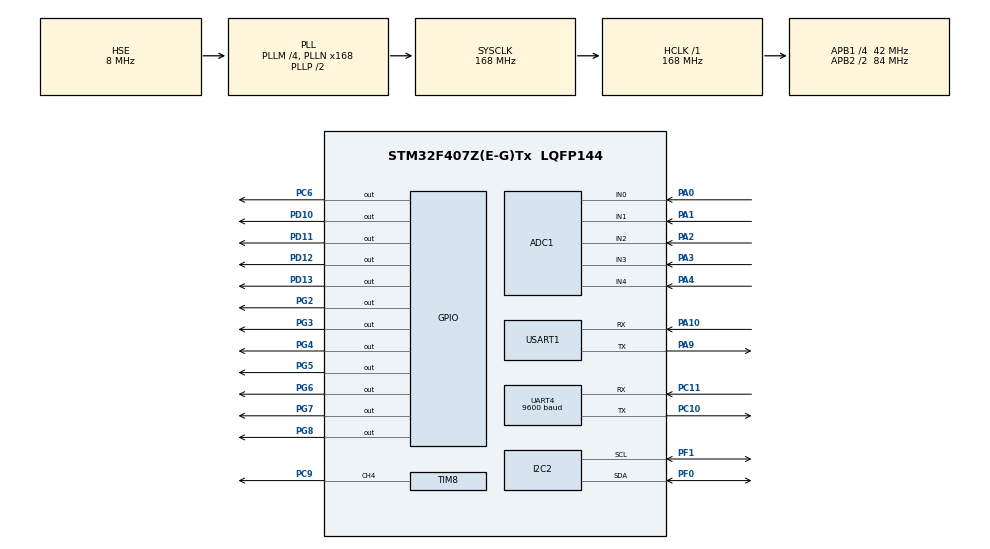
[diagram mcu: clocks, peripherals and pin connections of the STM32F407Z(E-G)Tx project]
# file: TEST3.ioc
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ADC1.Channel-0\#ChannelRegularConversion=ADC_CHANNEL_0
ADC1.Channel-1\#ChannelRegularConversion=ADC_CHANNEL_1
ADC1.Channel-2\#ChannelRegularConversion=ADC_CHANNEL_2
ADC1.Channel-3\#ChannelRegularConversion=ADC_CHANNEL_3
ADC1.Channel-4\#ChannelRegularConversion=ADC_CHANNEL_4
ADC1.ContinuousConvMode=ENABLE
ADC1.DMAContinuousRequests=ENABLE
ADC1.InjNumberOfConversion=0
ADC1.NbrOfConversion=5
ADC1.NbrOfConversionFlag=1
ADC1.Rank-0\#ChannelRegularConversion=1
ADC1.Rank-1\#ChannelRegularConversion=2
ADC1.Rank-2\#ChannelRegularConversion=3
ADC1.Rank-3\#ChannelRegularConversion=4
ADC1.Rank-4\#ChannelRegularConversion=5
ADC1.SamplingTime-0\#ChannelRegularConversion=ADC_SAMPLETIME_480CYCLES
ADC1.SamplingTime-1\#ChannelRegularConversion=ADC_SAMPLETIME_480CYCLES
ADC1.SamplingTime-2\#ChannelRegularConversion=ADC_SAMPLETIME_480CYCLES
ADC1.SamplingTime-3\#ChannelRegularConversion=ADC_SAMPLETIME_480CYCLES
ADC1.SamplingTime-4\#ChannelRegularConversion=ADC_SAMPLETIME_480CYCLES
ADC1.ScanConvMode=ENABLE
ADC1.master=1
Dma.ADC1.0.Direction=DMA_PERIPH_TO_MEMORY
Dma.ADC1.0.FIFOMode=DMA_FIFOMODE_DISABLE
Dma.ADC1.0.Instance=DMA2_Stream0
Dma.ADC1.0.MemDataAlignment=DMA_MDATAALIGN_HALFWORD
Dma.ADC1.0.MemInc=DMA_MINC_ENABLE
Dma.ADC1.0.Mode=DMA_CIRCULAR
Dma.ADC1.0.PeriphDataAlignment=DMA_PDATAALIGN_HALFWORD
Dma.ADC1.0.PeriphInc=DMA_PINC_DISABLE
Dma.ADC1.0.Priority=DMA_PRIORITY_LOW
Dma.Request0=ADC1
Dma.Request1=TIM8_CH4/TRIG/COM
Dma.TIM8_CH4/TRIG/COM.1.Direction=DMA_MEMORY_TO_PERIPH
Dma.TIM8_CH4/TRIG/COM.1.FIFOMode=DMA_FIFOMODE_DISABLE
Dma.TIM8_CH4/TRIG/COM.1.Instance=DMA2_Stream7
Dma.TIM8_CH4/TRIG/COM.1.MemDataAlignment=DMA_MDATAALIGN_HALFWORD
Dma.TIM8_CH4/TRIG/COM.1.MemInc=DMA_MINC_ENABLE
Dma.TIM8_CH4/TRIG/COM.1.Mode=DMA_NORMAL
Dma.TIM8_CH4/TRIG/COM.1.PeriphDataAlignment=DMA_PDATAALIGN_HALFWORD
Dma.TIM8_CH4/TRIG/COM.1.PeriphInc=DMA_PINC_DISABLE
Dma.TIM8_CH4/TRIG/COM.1.Priority=DMA_PRIORITY_MEDIUM
I2C2.I2C_Mode=I2C_Standard
Mcu.Family=STM32F4
Mcu.Name=STM32F407Z(E-G)Tx
Mcu.Package=LQFP144
NVIC.DMA2_Stream7_IRQn=true\:0\:0\:false\:false\:true\:true\:true
NVIC.PriorityGroup=NVIC_PRIORITYGROUP_4
NVIC.TIM2_IRQn=true\:0\:0\:false\:false\:true\:true\:true
NVIC.TIM3_IRQn=true\:0\:0\:false\:false\:true\:true\:true
NVIC.TIM8_TRG_COM_TIM14_IRQn=true\:0\:0\:false\:false\:true\:true\:true
NVIC.UART4_IRQn=true\:0\:0\:false\:false\:true\:true\:true
NVIC.USART1_IRQn=true\:0\:0\:false\:false\:true\:true\:true
PA0-WKUP.Signal=ADCx_IN0
PA1.Signal=ADCx_IN1
PA10.Mode=Asynchronous
PA10.Signal=USART1_RX
PA13.Mode=Serial_Wire
PA13.Signal=SYS_JTMS-SWDIO
PA14.Mode=Serial_Wire
PA14.Signal=SYS_JTCK-SWCLK
PA2.Signal=ADCx_IN2
PA3.Signal=ADCx_IN3
PA4.Signal=ADCx_IN4
PA9.Mode=Asynchronous
PA9.Signal=USART1_TX
PC10.Mode=Asynchronous
PC10.Signal=UART4_TX
PC11.Mode=Asynchronous
PC11.Signal=UART4_RX
PC14-OSC32_IN.Mode=LSE-External-Oscillator
PC14-OSC32_IN.Signal=RCC_OSC32_IN
PC15-OSC32_OUT.Mode=LSE-External-Oscillator
PC15-OSC32_OUT.Signal=RCC_OSC32_OUT
PC6.Signal=GPIO_Output
PC9.Signal=S_TIM8_CH4
PD10.Signal=GPIO_Output
PD11.Signal=GPIO_Output
PD12.Signal=GPIO_Output
PD13.Signal=GPIO_Output
PF0.Mode=I2C
PF0.Signal=I2C2_SDA
PF1.Mode=I2C
PF1.Signal=I2C2_SCL
PG2.Signal=GPIO_Output
PG3.Signal=GPIO_Output
PG4.Signal=GPIO_Output
PG5.Signal=GPIO_Output
PG6.Signal=GPIO_Output
PG7.Signal=GPIO_Output
PG8.Signal=GPIO_Output
PH0-OSC_IN.Mode=HSE-External-Oscillator
PH0-OSC_IN.Signal=RCC_OSC_IN
PH1-OSC_OUT.Mode=HSE-External-Oscillator
PH1-OSC_OUT.Signal=RCC_OSC_OUT
ProjectManager.HeapSize=0x200
ProjectManager.StackSize=0x400
ProjectManager.TargetToolchain=MDK-ARM V5
RCC.48MHZClocksFreq_Value=84000000
RCC.AHBFreq_Value=168000000
RCC.APB1CLKDivider=RCC_HCLK_DIV4
RCC.APB1Freq_Value=42000000
RCC.APB1TimFreq_Value=84000000
RCC.APB2CLKDivider=RCC_HCLK_DIV2
RCC.APB2Freq_Value=84000000
RCC.APB2TimFreq_Value=168000000
RCC.CortexFreq_Value=168000000
RCC.HCLKFreq_Value=168000000
RCC.HSE_VALUE=8000000
RCC.HSI_VALUE=16000000
RCC.PLLM=4
RCC.PLLN=168
RCC.PLLSourceVirtual=RCC_PLLSOURCE_HSE
RCC.SYSCLKFreq_VALUE=168000000
RCC.SYSCLKSource=RCC_SYSCLKSOURCE_PLLCLK
RCC.VCOOutputFreq_Value=336000000
SH.ADCx_IN0.0=ADC1_IN0,IN0
SH.ADCx_IN1.0=ADC1_IN1,IN1
SH.ADCx_IN2.0=ADC1_IN2,IN2
SH.ADCx_IN3.0=ADC1_IN3,IN3
SH.ADCx_IN4.0=ADC1_IN4,IN4
SH.S_TIM8_CH4.0=TIM8_CH4,PWM Generation4 CH4
TIM2.AutoReloadPreload=TIM_AUTORELOAD_PRELOAD_DISABLE
TIM2.Period=50000-1
TIM2.Prescaler=1680-1
TIM3.Period=10000-1
TIM3.Prescaler=1680-1
TIM8.Channel-PWM\ Generation4\ CH4=TIM_CHANNEL_4
TIM8.Period=210-1
UART4.BaudRate=9600
UART4.VirtualMode=Asynchronous
USART1.VirtualMode=VM_ASYNC
VP_TIM2_VS_ClockSourceINT.Mode=Internal
VP_TIM3_VS_ClockSourceINT.Mode=Internal
VP_TIM8_VS_ClockSourceINT.Mode=Internal
board=custom

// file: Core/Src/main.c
/* USER CODE BEGIN Header */
/**
  ******************************************************************************
  * @file           : main.c
  * @brief          : Main program body
  ******************************************************************************
  * @attention
  *
  * Copyright (c) 2024 STMicroelectronics.
  * All rights reserved.
  *
  * This software is licensed under terms that can be found in the LICENSE file
  * in the root directory of this software component.
  * If no LICENSE file comes with this software, it is provided AS-IS.
  *
  ******************************************************************************
  */
/* USER CODE END Header */
#include "main.h"
#include "adc.h"
#include "dma.h"
#include "i2c.h"
#include "tim.h"
#include "usart.h"
#include "gpio.h"

void SystemClock_Config(void);
/* USER CODE BEGIN PFP */

//引脚
/*
     IN0:PA0 土壤湿度    IN1:PA1 光强    IN2:PA2 水位    IN3:PA3 烟雾  IN4:PA4 PH
	 GPIO:PG2 风扇       PG3 水泵        PG4 农药        PG5 蜂鸣器
     UART4_TX: PC10      音乐播放器      UART4_RX: PC11  二氧化碳
	 USART1_TX:PA9       USART1_RX:PA10  ESP32
	 GPIO:PG6  电机1A    PG7  电机1B     PG8  电机1C     PC6  电机1D
	 GPIO:PD10 电机2A    PD11 电机2B     PD12 电机2C     PD13 电机2D
*/

//7E 03 1C 1F EF 播放/暂停
//7E 03 13 10 EF 下一首
//7E 03 14 17 EF 上一首

//串口ADC缓冲数组
uint16_t ADC_Value[5];     //ADC1数据
uint8_t  TX_DAT[9];        //不超过255
uint8_t  RX_DAT[10];       //不超过255
uint8_t  RX_DAT4[16];      //不超过255
uint8_t  TX_DAT4[5];       //不超过255

//自动控制参数
uint8_t  soil_flag;        //自动控制土壤湿度标志位
uint8_t  light_flag;       //自动控制光照强度标志位
uint8_t  carbon_flag;      //自动控制二氧化碳标志位
uint8_t  smoke_flag;       //烟雾报警开启标志位
uint8_t  curtain_flag;     //窗帘标志位
uint8_t  shuifei_flag;     //水肥一体化标志位
uint16_t soil_top;
uint16_t soil_floor;
uint16_t light_top;
uint16_t light_floor;
uint16_t carbon_top;
uint16_t carbon_floor;

//传感器参数
uint8_t smoke;             //烟雾标志位
int8_t  water_ph;          //水质ph
int32_t water_level;       //水位高度
uint8_t soil_humidity;     //土壤湿度
int32_t carbon_dioxide;    //二氧化碳浓度
int32_t light_intensity;   //光照强度

//IIC参数
//uint8_t IIC_OBUF[1]=0x80;
//uint8_t IIC_IBUF[4];
uint16_t IIC_BUF;

#define TSL2561_ADDR 0x39  // TSL2561器件地址

#define TSL2561_CMD 0x80  // 命令字节
#define TSL2561_REG_TIMING 0x01  // TIMING寄存器地址
#define TSL2561_REG_DATA_0 0x0C  // 数据寄存器0地址
#define TSL2561_REG_DATA_1 0x0E  // 数据寄存器1地址

#define TSL2561_GAIN_1X 0x00   // 增益1x
#define TSL2561_GAIN_16X 0x10  // 增益16x

#define TSL2561_INTEGRATION_TIME_13MS 0x00  // 13.7ms积分时间
#define TSL2561_INTEGRATION_TIME_101MS 0x01  // 101ms积分时间
#define TSL2561_INTEGRATION_TIME_402MS 0x02  // 402ms积分时间

void TSL2561_Init(void)
{
    uint8_t buf[4];

	//
    buf[0] = TSL2561_CMD | 0x00;
    buf[1] = 0x03;

    HAL_I2C_Master_Transmit(&hi2c2, TSL2561_ADDR, buf, 2, 1000);
    // 设置增益为1x，积分时间为13.7ms
    buf[0] = TSL2561_CMD | TSL2561_REG_TIMING;
    buf[1] = TSL2561_GAIN_1X | TSL2561_INTEGRATION_TIME_101MS;

    HAL_I2C_Master_Transmit(&hi2c2, TSL2561_ADDR, buf, 2, 1000);
}

uint16_t TSL2561_ReadData(void)
{
    uint8_t buf[2];
    uint16_t data;

    // 读取数据寄存器0和数据寄存器1的值
    buf[0] = TSL2561_CMD | TSL2561_REG_DATA_0;
    HAL_I2C_Master_Transmit(&hi2c2, TSL2561_ADDR, buf, 1, 1000);
    HAL_I2C_Master_Receive(&hi2c2, TSL2561_ADDR, buf, 2, 1000);

    // 将读取到的数据转换为16位整数
    data = buf[1] << 8 | buf[0];

    return data;
}

//1相励磁函数， A-B-C-D 正转
void Motor_One(uint16_t speed)
{
	HAL_GPIO_WritePin(GPIOG,GPIO_PIN_6,GPIO_PIN_SET);
	HAL_GPIO_WritePin(GPIOG,GPIO_PIN_7|GPIO_PIN_8,GPIO_PIN_RESET);HAL_GPIO_WritePin(GPIOC,GPIO_PIN_6,GPIO_PIN_RESET);
	HAL_Delay(speed);

	HAL_GPIO_WritePin(GPIOG,GPIO_PIN_7,GPIO_PIN_SET);
	HAL_GPIO_WritePin(GPIOG,GPIO_PIN_6|GPIO_PIN_8,GPIO_PIN_RESET);HAL_GPIO_WritePin(GPIOC,GPIO_PIN_6,GPIO_PIN_RESET);
	HAL_Delay(speed);

	HAL_GPIO_WritePin(GPIOG,GPIO_PIN_8,GPIO_PIN_SET);
	HAL_GPIO_WritePin(GPIOG,GPIO_PIN_6|GPIO_PIN_7,GPIO_PIN_RESET);HAL_GPIO_WritePin(GPIOC,GPIO_PIN_6,GPIO_PIN_RESET);
	HAL_Delay(speed);

	HAL_GPIO_WritePin(GPIOC,GPIO_PIN_6,GPIO_PIN_SET);
	HAL_GPIO_WritePin(GPIOG,GPIO_PIN_7|GPIO_PIN_8|GPIO_PIN_9,GPIO_PIN_RESET);
	HAL_Delay(speed);
}

//1相励磁函数， D-C-B-A 反转
void Motor_uOne(uint16_t speed)
{
	HAL_GPIO_WritePin(GPIOC,GPIO_PIN_6,GPIO_PIN_SET);
	HAL_GPIO_WritePin(GPIOG,GPIO_PIN_7|GPIO_PIN_8|GPIO_PIN_9,GPIO_PIN_RESET);
	HAL_Delay(speed);

	HAL_GPIO_WritePin(GPIOG,GPIO_PIN_8,GPIO_PIN_SET);
	HAL_GPIO_WritePin(GPIOG,GPIO_PIN_6|GPIO_PIN_7,GPIO_PIN_RESET);HAL_GPIO_WritePin(GPIOC,GPIO_PIN_6,GPIO_PIN_RESET);
	HAL_Delay(speed);

	HAL_GPIO_WritePin(GPIOG,GPIO_PIN_7,GPIO_PIN_SET);
	HAL_GPIO_WritePin(GPIOG,GPIO_PIN_6|GPIO_PIN_8,GPIO_PIN_RESET);HAL_GPIO_WritePin(GPIOC,GPIO_PIN_6,GPIO_PIN_RESET);
	HAL_Delay(speed);

	HAL_GPIO_WritePin(GPIOG,GPIO_PIN_6,GPIO_PIN_SET);
	HAL_GPIO_WritePin(GPIOG,GPIO_PIN_7|GPIO_PIN_8,GPIO_PIN_RESET);HAL_GPIO_WritePin(GPIOC,GPIO_PIN_6,GPIO_PIN_RESET);
	HAL_Delay(speed);

}

//1相励磁函数2，A-B-C-D 正转
void Motor2_One(uint16_t speed)
{
	HAL_GPIO_WritePin(GPIOD,GPIO_PIN_10,GPIO_PIN_SET);
	HAL_GPIO_WritePin(GPIOD,GPIO_PIN_11|GPIO_PIN_12|GPIO_PIN_13,GPIO_PIN_RESET);
	HAL_Delay(speed);

	HAL_GPIO_WritePin(GPIOD,GPIO_PIN_11,GPIO_PIN_SET);
	HAL_GPIO_WritePin(GPIOD,GPIO_PIN_10|GPIO_PIN_12|GPIO_PIN_13,GPIO_PIN_RESET);
	HAL_Delay(speed);

	HAL_GPIO_WritePin(GPIOD,GPIO_PIN_12,GPIO_PIN_SET);
	HAL_GPIO_WritePin(GPIOD,GPIO_PIN_10|GPIO_PIN_11|GPIO_PIN_13,GPIO_PIN_RESET);
	HAL_Delay(speed);

	HAL_GPIO_WritePin(GPIOD,GPIO_PIN_13,GPIO_PIN_SET);
	HAL_GPIO_WritePin(GPIOD,GPIO_PIN_10|GPIO_PIN_11|GPIO_PIN_12,GPIO_PIN_RESET);
	HAL_Delay(speed);
}
//1相励磁函数2，D-C-B-A 反转
void Motor2_uOne(uint16_t speed)
{
	HAL_GPIO_WritePin(GPIOD,GPIO_PIN_13,GPIO_PIN_SET);
	HAL_GPIO_WritePin(GPIOD,GPIO_PIN_10|GPIO_PIN_11|GPIO_PIN_12,GPIO_PIN_RESET);
	HAL_Delay(speed);

	HAL_GPIO_WritePin(GPIOD,GPIO_PIN_12,GPIO_PIN_SET);
	HAL_GPIO_WritePin(GPIOD,GPIO_PIN_10|GPIO_PIN_11|GPIO_PIN_13,GPIO_PIN_RESET);
	HAL_Delay(speed);

	HAL_GPIO_WritePin(GPIOD,GPIO_PIN_11,GPIO_PIN_SET);
	HAL_GPIO_WritePin(GPIOD,GPIO_PIN_10|GPIO_PIN_12|GPIO_PIN_13,GPIO_PIN_RESET);
	HAL_Delay(speed);

	HAL_GPIO_WritePin(GPIOD,GPIO_PIN_10,GPIO_PIN_SET);
	HAL_GPIO_WritePin(GPIOD,GPIO_PIN_11|GPIO_PIN_12|GPIO_PIN_13,GPIO_PIN_RESET);
	HAL_Delay(speed);
}

//1相励磁合，A1D2-B1C2-C1B2-D1A2 开
void Motor_on(uint16_t speed)
{
	HAL_GPIO_WritePin(GPIOG,GPIO_PIN_6,GPIO_PIN_SET);
	HAL_GPIO_WritePin(GPIOG,GPIO_PIN_7|GPIO_PIN_8,GPIO_PIN_RESET);HAL_GPIO_WritePin(GPIOC,GPIO_PIN_6,GPIO_PIN_RESET);
	HAL_GPIO_WritePin(GPIOD,GPIO_PIN_13,GPIO_PIN_SET);
	HAL_GPIO_WritePin(GPIOD,GPIO_PIN_10|GPIO_PIN_11|GPIO_PIN_12,GPIO_PIN_RESET);
	HAL_Delay(speed);

	HAL_GPIO_WritePin(GPIOG,GPIO_PIN_7,GPIO_PIN_SET);
	HAL_GPIO_WritePin(GPIOG,GPIO_PIN_6|GPIO_PIN_8,GPIO_PIN_RESET);HAL_GPIO_WritePin(GPIOC,GPIO_PIN_6,GPIO_PIN_RESET);
	HAL_GPIO_WritePin(GPIOD,GPIO_PIN_12,GPIO_PIN_SET);
	HAL_GPIO_WritePin(GPIOD,GPIO_PIN_10|GPIO_PIN_11|GPIO_PIN_13,GPIO_PIN_RESET);
	HAL_Delay(speed);

	HAL_GPIO_WritePin(GPIOG,GPIO_PIN_8,GPIO_PIN_SET);
	HAL_GPIO_WritePin(GPIOG,GPIO_PIN_6|GPIO_PIN_7,GPIO_PIN_RESET);HAL_GPIO_WritePin(GPIOC,GPIO_PIN_6,GPIO_PIN_RESET);
    HAL_GPIO_WritePin(GPIOD,GPIO_PIN_11,GPIO_PIN_SET);
	HAL_GPIO_WritePin(GPIOD,GPIO_PIN_10|GPIO_PIN_12|GPIO_PIN_13,GPIO_PIN_RESET);
	HAL_Delay(speed);

	HAL_GPIO_WritePin(GPIOC,GPIO_PIN_6,GPIO_PIN_SET);
	HAL_GPIO_WritePin(GPIOG,GPIO_PIN_7|GPIO_PIN_8|GPIO_PIN_9,GPIO_PIN_RESET);
	HAL_GPIO_WritePin(GPIOD,GPIO_PIN_10,GPIO_PIN_SET);
	HAL_GPIO_WritePin(GPIOD,GPIO_PIN_11|GPIO_PIN_12|GPIO_PIN_13,GPIO_PIN_RESET);
	HAL_Delay(speed);
}
//1相励磁合，D1A2-C1B2-B1C2-A1D2 关
void Motor_off(uint16_t speed)
{

	HAL_GPIO_WritePin(GPIOC,GPIO_PIN_6,GPIO_PIN_SET);
	HAL_GPIO_WritePin(GPIOG,GPIO_PIN_7|GPIO_PIN_8|GPIO_PIN_9,GPIO_PIN_RESET);
		HAL_GPIO_WritePin(GPIOD,GPIO_PIN_10,GPIO_PIN_SET);
	HAL_GPIO_WritePin(GPIOD,GPIO_PIN_11|GPIO_PIN_12|GPIO_PIN_13,GPIO_PIN_RESET);
	HAL_Delay(speed);

	HAL_GPIO_WritePin(GPIOG,GPIO_PIN_8,GPIO_PIN_SET);
	HAL_GPIO_WritePin(GPIOG,GPIO_PIN_6|GPIO_PIN_7,GPIO_PIN_RESET);HAL_GPIO_WritePin(GPIOC,GPIO_PIN_6,GPIO_PIN_RESET);
	HAL_GPIO_WritePin(GPIOD,GPIO_PIN_11,GPIO_PIN_SET);
	HAL_GPIO_WritePin(GPIOD,GPIO_PIN_10|GPIO_PIN_12|GPIO_PIN_13,GPIO_PIN_RESET);
	HAL_Delay(speed);

	HAL_GPIO_WritePin(GPIOG,GPIO_PIN_7,GPIO_PIN_SET);
	HAL_GPIO_WritePin(GPIOG,GPIO_PIN_6|GPIO_PIN_8,GPIO_PIN_RESET);HAL_GPIO_WritePin(GPIOC,GPIO_PIN_6,GPIO_PIN_RESET);
	HAL_GPIO_WritePin(GPIOD,GPIO_PIN_12,GPIO_PIN_SET);
	HAL_GPIO_WritePin(GPIOD,GPIO_PIN_10|GPIO_PIN_11|GPIO_PIN_13,GPIO_PIN_RESET);
	HAL_Delay(speed);

	HAL_GPIO_WritePin(GPIOG,GPIO_PIN_6,GPIO_PIN_SET);
	HAL_GPIO_WritePin(GPIOG,GPIO_PIN_7|GPIO_PIN_8,GPIO_PIN_RESET);HAL_GPIO_WritePin(GPIOC,GPIO_PIN_6,GPIO_PIN_RESET);
	HAL_GPIO_WritePin(GPIOD,GPIO_PIN_13,GPIO_PIN_SET);
	HAL_GPIO_WritePin(GPIOD,GPIO_PIN_10|GPIO_PIN_11|GPIO_PIN_12,GPIO_PIN_RESET);
	HAL_Delay(speed);
}

//ADC采样滤波函数 times个通道m取平均
uint16_t GET_ADC_Value1(uint8_t m,uint16_t times)
{
	uint16_t temp_val=0;
	uint16_t t;
	for(t=0;t<times;t++)
	{
		temp_val+=ADC_Value[m];
	}
	return temp_val/times;
}

//WS2812参数
#define ws2812_one 143
#define ws2812_zero 67
#define ws2812_reset 9000
#define ws2812_len 24
#define ws2812_num 10
#define ws2812_data_len (ws2812_num*ws2812_len)

uint16_t RGB_buffer[ws2812_data_len+1] = {0};
uint8_t RGB[3];            //不超过255

//1. 结构体类型定义
typedef struct
{
    float LastP;//上次估算协方差 初始化值为0.02
    float Now_P;//当前估算协方差 初始化值为0
    float out;//卡尔曼滤波器输出 初始化值为0
    float Kg;//卡尔曼增益 初始化值为0
    float Q;//过程噪声协方差 初始化值为0.001
    float R;//观测噪声协方差 初始化值为0.543
}KFP;//Kalman Filter parameter

//2. 以高度为例 定义卡尔曼结构体并初始化参数
KFP KFP_height={0.02,0,0,0,0.001,0.543};

/**
 *卡尔曼滤波器
 *@param KFP *kfp 卡尔曼结构体参数
 *   float input 需要滤波的参数的测量值（即传感器的采集值）
 *@return 滤波后的参数（最优值）
 */
 float kalmanFilter(KFP *kfp,float input)
 {
     //预测协方差方程：k时刻系统估算协方差 = k-1时刻的系统协方差 + 过程噪声协方差
     kfp->Now_P = kfp->LastP + kfp->Q;
     //卡尔曼增益方程：卡尔曼增益 = k时刻系统估算协方差 / （k时刻系统估算协方差 + 观测噪声协方差）
     kfp->Kg = kfp->Now_P / (kfp->Now_P + kfp->R);
     //更新最优值方程：k时刻状态变量的最优值 = 状态变量的预测值 + 卡尔曼增益 * （测量值 - 状态变量的预测值）
     kfp->out = kfp->out + kfp->Kg * (input -kfp->out);//因为这一次的预测值就是上一次的输出值
     //更新协方差方程: 本次的系统协方差付给 kfp->LastP 威下一次运算准备。
     kfp->LastP = (1-kfp->Kg) * kfp->Now_P;
     return kfp->out;
 }

//ws2812控制 函数
void my_ws2812(uint8_t R,uint8_t G,uint8_t B)
{
	for(uint16_t j = 0; j < ws2812_num; j++)
	{
		uint8_t zy=0;
	     for (uint16_t i = j * 24; i < (j*24+8); i++)
       {
         RGB_buffer[i]      = (G << zy) & (0x80) ? ws2812_one : ws2812_zero;
         RGB_buffer[i + 8]  = (R << zy) & (0x80) ? ws2812_one : ws2812_zero;
         RGB_buffer[i + 16] = (B << zy) & (0x80) ? ws2812_one : ws2812_zero;
		 zy++;
       }
    }
	RGB_buffer[ws2812_data_len]=0;
	HAL_TIM_PWM_Start_DMA(&htim8, TIM_CHANNEL_4,(uint32_t*)RGB_buffer,ws2812_data_len+1);
}

//定时器中断服务函数
void HAL_TIM_PeriodElapsedCallback(TIM_HandleTypeDef *htim)
{
	if(htim->Instance == TIM2)               //定时器2中断发送串口1数据 频率1Hz
	{
		water_ph = (float)(GET_ADC_Value1(4,3)-2369)/(-167.1)*10;       //获取水质ph
		//light_intensity = GET_ADC_Value1(1,20);                          //获取光照强度
		light_intensity = kalmanFilter(&KFP_height,(float) GET_ADC_Value1(1,3));
		water_level = GET_ADC_Value1(2,3)/10;                           //获取水位
		soil_humidity = (100 - (GET_ADC_Value1(0,3)*100 / 4095 ));      //获取土壤湿度

		TX_DAT[0] = soil_humidity;
	    TX_DAT[1] = light_intensity / 100;
		TX_DAT[2] = light_intensity % 100;
	    TX_DAT[3] = water_ph;
	    TX_DAT[4] = carbon_dioxide /100;
	    TX_DAT[5] = carbon_dioxide %100;
	    TX_DAT[6] = water_level /100;
	    TX_DAT[7] = water_level %100;
	    TX_DAT[8] = smoke;

		HAL_UART_Transmit_IT(&huart1,TX_DAT,9);

	}

		if(htim->Instance == TIM3)               //定时器3中断 频率5Hz
	{
           if(soil_flag)                         //开启土壤湿度控制
        {
	          if(soil_humidity>soil_top-3)
		    {
			    HAL_GPIO_WritePin(GPIOG,GPIO_PIN_4,GPIO_PIN_RESET);
	        }
		      if(soil_humidity<soil_floor)
	        {
			    HAL_GPIO_WritePin(GPIOG,GPIO_PIN_4,GPIO_PIN_SET);
	        }
	    }
		   if(light_flag)                        //开启光强控制
        {
			/*  if(light_intensity>4000)            //拉上窗帘
			{
				curtain_flag = 2;
			}*/
			  if(light_intensity>light_top-20)
    	    {
				if(RGB[0]>0)RGB[0]-=1;
				if(RGB[1]>0)RGB[1]-=1;
				if(RGB[2]>0)RGB[2]-=1;
				my_ws2812(RGB[0],RGB[1],RGB[2]);
		    }
			  if(light_intensity<light_floor+20)
		    {
				if(RGB[0]<255)RGB[0]+=1;
				if(RGB[1]<255)RGB[1]+=1;
				if(RGB[2]<255)RGB[2]+=1;
				my_ws2812(RGB[0],RGB[1],RGB[2]);
		    }
	    }
		   if(carbon_flag)                       //开启二氧化碳控制
        {
			  if(carbon_dioxide>carbon_top)
		    {
				HAL_GPIO_WritePin(GPIOG,GPIO_PIN_7,GPIO_PIN_RESET);
			}
			  if(carbon_dioxide<carbon_floor)
			{
				HAL_GPIO_WritePin(GPIOG,GPIO_PIN_7,GPIO_PIN_SET);
			}
		}
		   if(smoke_flag)                        //开启烟雾报警
		{
			if(GET_ADC_Value1(3,3)>1200)
			{
				HAL_GPIO_WritePin(GPIOG,GPIO_PIN_5,GPIO_PIN_SET);
				smoke=1;
			}
		}
		else{smoke=0,HAL_GPIO_WritePin(GPIOG,GPIO_PIN_5,GPIO_PIN_RESET);}
	}
}

//串口接收回调函数
void HAL_UART_RxCpltCallback(UART_HandleTypeDef *huart)
{
	if(huart->Instance==USART1)                   //串口1接收并执行命令
	{
		  switch(RX_DAT[0]-0x30)
		  {
			  //1-6开
			  case 1:
				     switch(RX_DAT[1]-0x30)
					 {
						 case 1:
							     HAL_GPIO_WritePin(GPIOG,GPIO_PIN_2,GPIO_PIN_SET);      //fan
						 break;

						 case 2:
							     HAL_GPIO_WritePin(GPIOG,GPIO_PIN_3,GPIO_PIN_SET);      //water
						 break;

						 case 3:
							     HAL_GPIO_WritePin(GPIOG,GPIO_PIN_4,GPIO_PIN_SET);      //pesticide
						 break;

						 case 4:
							     //7E 03 1C 1F EF
						         TX_DAT4[0]=0x7E;TX_DAT4[1]=0x03;TX_DAT4[2]=0x1C;TX_DAT4[3]=0x1F;TX_DAT4[4]=0xEF;
							     HAL_UART_Transmit_IT(&huart4,TX_DAT4,5);               //music
						 break;

						 case 5:
							     smoke_flag=1;                                          //smoke
						 break;

						 case 6:
							     curtain_flag=1;                                        //curtain
						 break;
					 }
			  break;

             //1-6关
			 case 2:
				     switch(RX_DAT[1]-0x30)
					 {
						 case 1:
							     HAL_GPIO_WritePin(GPIOG,GPIO_PIN_2,GPIO_PIN_RESET);    //fan
						 break;

						 case 2:
							     HAL_GPIO_WritePin(GPIOG,GPIO_PIN_3,GPIO_PIN_RESET);    //water
						 break;

						 case 3:
							     HAL_GPIO_WritePin(GPIOG,GPIO_PIN_4,GPIO_PIN_RESET);    //pesticide
						 break;

						 case 4:
							     //7E 03 1C 1F EF
						         TX_DAT4[0]=0x7E;TX_DAT4[1]=0x03;TX_DAT4[2]=0x1C;TX_DAT4[3]=0x1F;TX_DAT4[4]=0xEF;
							     HAL_UART_Transmit_IT(&huart4,TX_DAT4,5);               //music
						 break;

						 case 5:
							     smoke_flag=0;                                          //smoke
						 break;

						 case 6:
							     curtain_flag=2;                                        //curtain
						 break;

					 }
			  break;

			  //控制RGB灯
			  case 3:
				     RGB[0] = (RX_DAT[1] - 0x30) * 100; RGB[0] += (RX_DAT[2] - 0x30) * 10;RGB[0] += RX_DAT[3]-0x30;
			         RGB[1] = (RX_DAT[4] - 0x30) * 100; RGB[1] += (RX_DAT[5] - 0x30) * 10;RGB[1] += RX_DAT[6]-0x30;
			         RGB[2] = (RX_DAT[7] - 0x30) * 100; RGB[2] += (RX_DAT[8] - 0x30) * 10;RGB[2] += RX_DAT[9]-0x30;
			         my_ws2812(RGB[0],RGB[1],RGB[2]);
			  break;

			  //自动控制功能
			  case 4:
				    switch(RX_DAT[1]-0x30)
					 {
						 case 1:
							     soil_top   = (RX_DAT[2] - 0x30) * 10+(RX_DAT[3]-0x30);
					         	 soil_floor = (RX_DAT[4] - 0x30) * 10+(RX_DAT[5]-0x30);
						         soil_flag  = 1;
						 break;

						 case 2:
							     light_top    = (RX_DAT[2]-0x30)*1000 + (RX_DAT[3]-0x30)*100 + (RX_DAT[4]-0x30)*10 + (RX_DAT[5]-0x30);
					         	 light_floor  = (RX_DAT[6]-0x30)*1000 + (RX_DAT[7]-0x30)*100 + (RX_DAT[8]-0x30)*10 + (RX_DAT[9]-0x30);
						         light_flag   = 1;
						 break;

						 case 3:
							     carbon_top   = (RX_DAT[2]-0x30)*1000 + (RX_DAT[3]-0x30)*100 + (RX_DAT[4]-0x30)*10 + (RX_DAT[5]-0x30);
					         	 carbon_floor = (RX_DAT[6]-0x30)*1000 + (RX_DAT[7]-0x30)*100 + (RX_DAT[8]-0x30)*10 + (RX_DAT[9]-0x30);
						         carbon_flag  = 1;
						 break;
					 }
			  break;

			  //音乐下一首
			  case 5:
				    switch(RX_DAT[1]-0x30)
					 {
						 case 1:
                                 //7E 03 13 10 EF
						         TX_DAT4[0]=0x7E;TX_DAT4[1]=0x03;TX_DAT4[2]=0x13;TX_DAT4[3]=0x10;TX_DAT4[4]=0xEF;
							     HAL_UART_Transmit_IT(&huart4,TX_DAT4,5);               //music
						 break;
					 }
			  break;
			  //水肥一体化
			  case 6:
				    switch(RX_DAT[1]-0x30)
					 {
						 case 6:

						        shuifei_flag=1;
						 break;
					 }
			  break;
		  }
		  HAL_UART_Receive_IT(&huart1,RX_DAT,10);
	}

	if(huart->Instance==UART4)                           //串口2接收二氧化碳数据
	{
		 carbon_dioxide=RX_DAT4[6]*256+RX_DAT4[7];

	     HAL_UART_Receive_IT(&huart4,RX_DAT4,16);
	}
}

// PWM DMA 完成回调函数
void HAL_TIM_PWM_PulseFinishedCallback(TIM_HandleTypeDef *htim)
{
	HAL_TIM_PWM_Stop_DMA(&htim8, TIM_CHANNEL_4);
}

/* USER CODE END PFP */

int main(void)
{

  /* MCU Configuration--------------------------------------------------------*/

  /* Reset of all peripherals, Initializes the Flash interface and the Systick. */
  HAL_Init();

  /* Configure the system clock */
  SystemClock_Config();

  /* Initialize all configured peripherals */

  MX_GPIO_Init();
  MX_DMA_Init();
  MX_ADC1_Init();
  MX_TIM2_Init();
  MX_USART1_UART_Init();
  MX_I2C2_Init();
  MX_TIM8_Init();
  MX_UART4_Init();
  MX_TIM3_Init();

  /* USER CODE BEGIN 2 */

 // TSL2561_Init();
  HAL_TIM_Base_Start_IT(&htim2);                      //定时器2中断 1HZ
  HAL_TIM_Base_Start_IT(&htim3);                      //定时器3中断 10HZ
  HAL_UART_Receive_IT(&huart1,RX_DAT,10);             //串口1接受10个字节数据
  HAL_UART_Receive_IT(&huart4,RX_DAT4,16);            //串口4接受16个字节数据
  HAL_ADC_Start_DMA(&hadc1,(uint32_t*)ADC_Value,5);   //ADC1 DMA 5通道
  //HAL_I2C_Mem_Write(&hi2c2,0x39,0x00,8,&IIC_OBUF[1],1,0xffff);

  /* USER CODE END 2 */

  /* Infinite loop */
  while (1)
  {

    /* USER CODE BEGIN 3 */
	 if(curtain_flag==1)        //开
	 {
		 int j=9000;
		 int i;
		 for(i=0;i<j;i++)
		 {
	      	 Motor_on(1);
		 }
		 curtain_flag=0;
	 }
	 if(curtain_flag==2)        //关
	 {
		 int j=9000;
		 int i;
		 for(i=0;i<j;i++)
		 {
			 Motor_off(1);
		 }
		 curtain_flag=0;
	 }
	if(curtain_flag==0)
	{
       HAL_Delay(500);
	}
    if(shuifei_flag==1)
	{
		HAL_GPIO_WritePin(GPIOG,GPIO_PIN_2,GPIO_PIN_SET);   //SHUI
		HAL_GPIO_WritePin(GPIOG,GPIO_PIN_3,GPIO_PIN_SET);   //FEI
		HAL_Delay(2000);
		HAL_GPIO_WritePin(GPIOG,GPIO_PIN_3,GPIO_PIN_RESET); //FEI
		HAL_Delay(2000);HAL_Delay(2000);
		HAL_GPIO_WritePin(GPIOG,GPIO_PIN_2,GPIO_PIN_RESET); //SHUI
		HAL_GPIO_WritePin(GPIOG,GPIO_PIN_4,GPIO_PIN_SET);   //HUN
		HAL_Delay(2000);HAL_Delay(2000);
		HAL_Delay(2000);HAL_Delay(2000);
		HAL_Delay(2000);
		HAL_GPIO_WritePin(GPIOG,GPIO_PIN_4,GPIO_PIN_RESET);   //HUN
		shuifei_flag=0;
	}
   // HAL_I2C_Mem_Read (&hi2c2,0x39,0x0C,8,&IIC_IBUF[0],1,0xffff);
   // HAL_I2C_Mem_Read (&hi2c2,0x39,0x0D,8,&IIC_IBUF[1],1,0xffff);
    //HAL_I2C_Mem_Read (&hi2c2,0x39,0x0E,8,&IIC_IBUF[2],1,0xffff);
   // HAL_I2C_Mem_Read (&hi2c2,0x39,0x0F,8,&IIC_IBUF[3],1,0xffff);

  }

  /* USER CODE END 3 */
}

void SystemClock_Config(void)
{
  RCC_OscInitTypeDef RCC_OscInitStruct = {0};
  RCC_ClkInitTypeDef RCC_ClkInitStruct = {0};

  /** Configure the main internal regulator output voltage
  */
  __HAL_RCC_PWR_CLK_ENABLE();
  __HAL_PWR_VOLTAGESCALING_CONFIG(PWR_REGULATOR_VOLTAGE_SCALE1);
  /** Initializes the RCC Oscillators according to the specified parameters
  * in the RCC_OscInitTypeDef structure.
  */
  RCC_OscInitStruct.OscillatorType = RCC_OSCILLATORTYPE_HSE;
  RCC_OscInitStruct.HSEState = RCC_HSE_ON;
  RCC_OscInitStruct.PLL.PLLState = RCC_PLL_ON;
  RCC_OscInitStruct.PLL.PLLSource = RCC_PLLSOURCE_HSE;
  RCC_OscInitStruct.PLL.PLLM = 4;
  RCC_OscInitStruct.PLL.PLLN = 168;
  RCC_OscInitStruct.PLL.PLLP = RCC_PLLP_DIV2;
  RCC_OscInitStruct.PLL.PLLQ = 4;
  if (HAL_RCC_OscConfig(&RCC_OscInitStruct) != HAL_OK)
  {
    Error_Handler();
  }
  /** Initializes the CPU, AHB and APB buses clocks
  */
  RCC_ClkInitStruct.ClockType = RCC_CLOCKTYPE_HCLK|RCC_CLOCKTYPE_SYSCLK
                              |RCC_CLOCKTYPE_PCLK1|RCC_CLOCKTYPE_PCLK2;
  RCC_ClkInitStruct.SYSCLKSource = RCC_SYSCLKSOURCE_PLLCLK;
  RCC_ClkInitStruct.AHBCLKDivider = RCC_SYSCLK_DIV1;
  RCC_ClkInitStruct.APB1CLKDivider = RCC_HCLK_DIV4;
  RCC_ClkInitStruct.APB2CLKDivider = RCC_HCLK_DIV2;

  if (HAL_RCC_ClockConfig(&RCC_ClkInitStruct, FLASH_LATENCY_5) != HAL_OK)
  {
    Error_Handler();
  }
}

void Error_Handler(void)
{
  __disable_irq();
  while (1)
  {
  }
}
